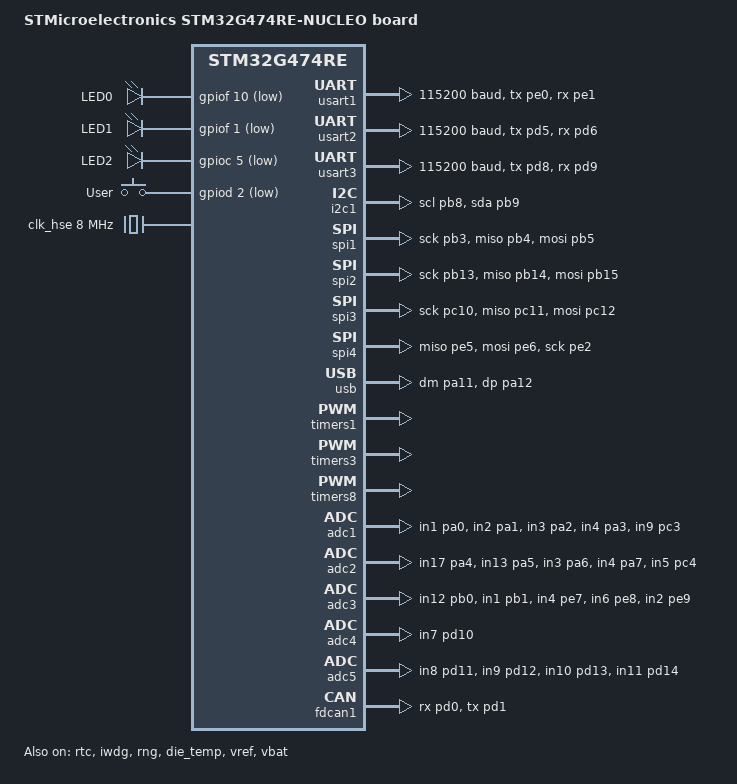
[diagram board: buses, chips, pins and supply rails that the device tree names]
/*
 * Copyright (c) 2019 STMicroelectronics.
 *
 * SPDX-License-Identifier: Apache-2.0
 */

/dts-v1/;
#include <st/g4/stm32g474Xe.dtsi>
#include <st/g4/stm32g474v(b-c-e)tx-pinctrl.dtsi>
#include <zephyr/dt-bindings/input/input-event-codes.h>

/ {
	model = "STMicroelectronics STM32G474RE-NUCLEO board";
	compatible = "st,stm32g474re-nucleo";

	chosen {
		zephyr,console = &usart3;
		zephyr,shell-uart = &usart3;
		zephyr,sram = &sram0;
		zephyr,flash = &flash0;
		zephyr,canbus = &fdcan1;
		zephyr,code-partition = &slot0_partition;
	};

	leds: leds {
		compatible = "gpio-leds";

		led0: led_0 {
			gpios = <&gpiof 10 GPIO_ACTIVE_LOW>;
			label = "LED0";
		};

		led1: led_1 {
			gpios = <&gpiof 1 GPIO_ACTIVE_LOW>;
			label = "LED1";
		};

		led2: led_2 {
			gpios = <&gpioc 5 GPIO_ACTIVE_LOW>;
			label = "LED2";
		};
	};

	// pwmleds {
	// 	compatible = "pwm-leds";

	// 	green_pwm_led: green_pwm_led {
	// 		pwms = <&pwm2 1 PWM_MSEC(20) PWM_POLARITY_NORMAL>;
	// 	};
	// };

	gpio_keys {
		compatible = "gpio-keys";

		user_button: button {
			label = "User";
			gpios = <&gpiod 2 GPIO_ACTIVE_LOW>;
			zephyr,code = <INPUT_KEY_0>;
		};
	};

	aliases {
		led0 = &led0;
		mcuboot-led0 = &led1;
	// 	pwm-led0 = &green_pwm_led;
		sw0 = &user_button;
		watchdog0 = &iwdg;
		die-temp0 = &die_temp;
		volt-sensor0 = &vref;
		volt-sensor1 = &vbat;
	};
};

&clk_lsi {
	status = "okay";
};

&clk_hsi48 {
	status = "okay";
};

&clk_hse {
	clock-frequency = <DT_FREQ_M(8)>;
	status = "okay";
};

&pll {
	div-m = <2>;
	mul-n = <85>;
	div-p = <2>;
	div-q = <4>;
	div-r = <2>;
	clocks = <&clk_hse>;
	status = "okay";
};

&rcc {
	clocks = <&pll>;
	clock-frequency = <DT_FREQ_M(170)>;
	ahb-prescaler = <1>;
	apb1-prescaler = <1>;
	apb2-prescaler = <1>;
};

&usart1 {
	pinctrl-0 = <&usart1_tx_pe0 &usart1_rx_pe1>;
	pinctrl-names = "default";
	current-speed = <115200>;
	status = "okay";
};

&usart2 {
	pinctrl-0 = <&usart2_tx_pd5 &usart2_rx_pd6>;
	pinctrl-names = "default";
	current-speed = <115200>;
	status = "okay";
};

&usart3 {
	pinctrl-0 = <&usart3_tx_pd8 &usart3_rx_pd9>;
	pinctrl-names = "default";
	current-speed = <115200>;
	status = "okay";
};

&i2c1 {
	pinctrl-0 = <&i2c1_scl_pb8 &i2c1_sda_pb9>;
	pinctrl-names = "default";
	status = "okay";
};

&spi1 {
	pinctrl-0 = <&spi1_sck_pb3 &spi1_miso_pb4 &spi1_mosi_pb5>;
	pinctrl-names = "default";
	cs-gpios = <&gpiod 7 (GPIO_ACTIVE_LOW | GPIO_PULL_UP)>;
	status = "okay";
};

&spi2 {
	pinctrl-0 = <&spi2_sck_pb13 &spi2_miso_pb14 &spi2_mosi_pb15>;
	cs-gpios = <&gpiob 11 (GPIO_ACTIVE_LOW | GPIO_PULL_UP)>;
	pinctrl-names = "default";
	status = "okay";
};

&spi3 {
	pinctrl-0 = <&spi3_sck_pc10 &spi3_miso_pc11 &spi3_mosi_pc12>;
	cs-gpios = <&gpioa 15 (GPIO_ACTIVE_LOW | GPIO_PULL_UP)>;
	pinctrl-names = "default";
	status = "okay";
};

&spi4 {
	pinctrl-0 = <&spi4_miso_pe5 &spi4_mosi_pe6 &spi4_sck_pe2>;
	pinctrl-names = "default";
	cs-gpios = <&gpioc 14 (GPIO_ACTIVE_LOW | GPIO_PULL_UP)>;
	status = "okay";
};

&usb {
	pinctrl-0 = <&usb_dm_pa11 &usb_dp_pa12>;
	pinctrl-names = "default";
	clocks = <&rcc STM32_CLOCK(APB1, 23)>,
			<&rcc STM32_SRC_HSI48 CLK48_SEL(1)>;
	status = "okay";
};

&timers1 {
	st,prescaler = <10000>;
	status = "okay";
	pwm1: pwm {
		pinctrl-0 = <&tim1_ch1_pa8 &tim1_ch2_pa9>;
		pinctrl-names = "default";
		status = "okay";
	};
};

&timers3 {
	st,prescaler = <10000>;
	status = "okay";
	pwm3: pwm {
		status = "okay";
		pinctrl-0 = <&tim3_ch3_pc8 &tim3_ch4_pc9>;
		pinctrl-names = "default";
	};
};

&timers8 {
	st,prescaler = <10000>;
	status = "okay";
	pwm8: pwm {
		status = "okay";
		pinctrl-0 = <&tim8_ch1_pc6 &tim8_ch2_pc7>;
		pinctrl-names = "default";
	};
};

&rtc {
	clocks = <&rcc STM32_CLOCK(APB1, 10)>,
		 <&rcc STM32_SRC_LSI RTC_SEL(2)>;
	status = "okay";
};

&flash0 {
	partitions {
		compatible = "fixed-partitions";
		#address-cells = <1>;
		#size-cells = <1>;

		boot_partition: partition@0 {
			label = "mcuboot";
			reg = <0x00000000 DT_SIZE_K(34)>;
		};

		slot0_partition: partition@8800 {
			label = "image-0";
			reg = <0x00008800 DT_SIZE_K(240)>;
		};

		slot1_partition: partition@44800 {
			label = "image-1";
			reg = <0x00044800 DT_SIZE_K(234)>;
		};

		/* Set 4Kb of storage at the end of the 512Kb of flash */
		storage_partition: partition@7f000 {
			label = "storage";
			reg = <0x0007f000 DT_SIZE_K(4)>;
		};
	};
};

&iwdg {
	status = "okay";
};

&rng {
	status = "okay";
};

&adc1 {
	pinctrl-0 = <&adc1_in1_pa0 &adc1_in2_pa1 &adc1_in3_pa2 &adc1_in4_pa3 &adc1_in9_pc3>;
	pinctrl-names = "default";
	st,adc-clock-source = "SYNC";
	st,adc-prescaler = <4>;
	status = "okay";
};

&adc2 {
	pinctrl-0 = <&adc2_in17_pa4 &adc2_in13_pa5 &adc2_in3_pa6 &adc2_in4_pa7 &adc2_in5_pc4>;
	pinctrl-names = "default";
	st,adc-clock-source = "SYNC";
	st,adc-prescaler = <4>;
	status = "okay";
};

&adc3 {
	pinctrl-0 = <&adc3_in12_pb0 &adc3_in1_pb1 &adc3_in4_pe7 &adc3_in6_pe8 &adc3_in2_pe9>;
	pinctrl-names = "default";
	st,adc-clock-source = "SYNC";
	st,adc-prescaler = <4>;
	status = "okay";
};

&adc4 {
	pinctrl-0 = <&adc4_in7_pd10>;
	pinctrl-names = "default";
	st,adc-clock-source = "SYNC";
	st,adc-prescaler = <4>;
	status = "okay";
};

&adc5 {
	pinctrl-0 = <&adc5_in8_pd11 &adc5_in9_pd12 &adc5_in10_pd13 &adc5_in11_pd14>;
	pinctrl-names = "default";
	st,adc-clock-source = "SYNC";
	st,adc-prescaler = <4>;
	status = "okay";
};

&die_temp {
	status = "okay";
};

&fdcan1 {
	clocks = <&rcc STM32_CLOCK(APB1, 25)>,
		 <&rcc STM32_SRC_HSE FDCAN_SEL(1)>;
	pinctrl-0 = <&fdcan1_rx_pd0 &fdcan1_tx_pd1>;
	pinctrl-names = "default";
	status = "okay";
};

&vref {
	status = "okay";
};

&vbat {
	status = "okay";
};
